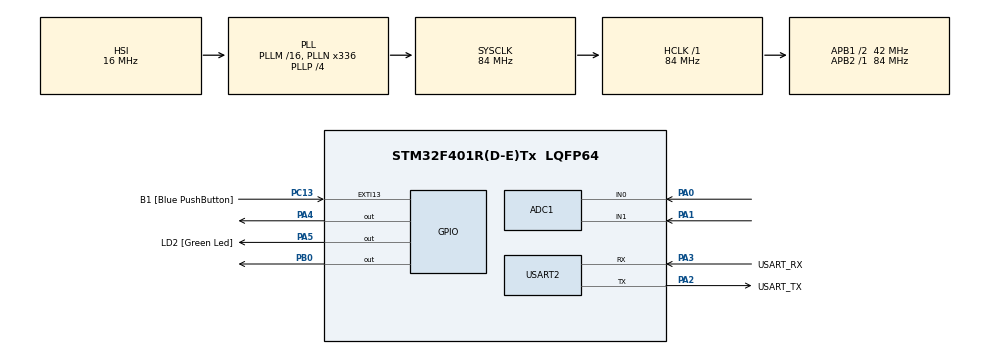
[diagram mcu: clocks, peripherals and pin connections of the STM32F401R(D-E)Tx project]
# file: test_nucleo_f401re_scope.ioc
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ADC1.Channel-0\#ChannelRegularConversion=ADC_CHANNEL_0
ADC1.Channel-1\#ChannelRegularConversion=ADC_CHANNEL_1
ADC1.DMAContinuousRequests=ENABLE
ADC1.DataAlign=ADC_DATAALIGN_RIGHT
ADC1.EnableAnalogWatchDog=true
ADC1.ExternalTrigConv=ADC_EXTERNALTRIGCONV_T2_TRGO
ADC1.HighThreshold=2048
ADC1.ITMode=ENABLE
ADC1.LowThreshold=1024
ADC1.NbrOfConversion=2
ADC1.NbrOfConversionFlag=1
ADC1.Rank-0\#ChannelRegularConversion=1
ADC1.Rank-1\#ChannelRegularConversion=2
ADC1.SamplingTime-0\#ChannelRegularConversion=ADC_SAMPLETIME_3CYCLES
ADC1.SamplingTime-1\#ChannelRegularConversion=ADC_SAMPLETIME_3CYCLES
ADC1.WatchdogMode=ADC_ANALOGWATCHDOG_SINGLE_REG
ADC1.master=1
Dma.ADC1.0.Direction=DMA_PERIPH_TO_MEMORY
Dma.ADC1.0.FIFOMode=DMA_FIFOMODE_DISABLE
Dma.ADC1.0.Instance=DMA2_Stream0
Dma.ADC1.0.MemDataAlignment=DMA_MDATAALIGN_HALFWORD
Dma.ADC1.0.MemInc=DMA_MINC_ENABLE
Dma.ADC1.0.Mode=DMA_CIRCULAR
Dma.ADC1.0.PeriphDataAlignment=DMA_PDATAALIGN_HALFWORD
Dma.ADC1.0.PeriphInc=DMA_PINC_DISABLE
Dma.ADC1.0.Priority=DMA_PRIORITY_LOW
Dma.Request0=ADC1
Mcu.Family=STM32F4
Mcu.Name=STM32F401R(D-E)Tx
Mcu.Package=LQFP64
NVIC.ADC_IRQn=true\:0\:0\:false\:false\:true\:true\:true\:true
NVIC.DMA2_Stream0_IRQn=true\:0\:0\:false\:false\:true\:false\:true\:true
NVIC.PriorityGroup=NVIC_PRIORITYGROUP_0
NVIC.TIM3_IRQn=true\:0\:0\:false\:false\:true\:true\:true\:true
PA0-WKUP.Signal=ADCx_IN0
PA1.Signal=ADCx_IN1
PA13.GPIO_Label=TMS
PA13.Mode=Trace_Asynchronous_SW
PA13.Signal=SYS_JTMS-SWDIO
PA14.GPIO_Label=TCK
PA14.Mode=Trace_Asynchronous_SW
PA14.Signal=SYS_JTCK-SWCLK
PA2.GPIO_Label=USART_TX
PA2.GPIO_Mode=GPIO_MODE_AF_PP
PA2.GPIO_PuPd=GPIO_NOPULL
PA2.GPIO_Speed=GPIO_SPEED_FREQ_LOW
PA2.Mode=Asynchronous
PA2.Signal=USART2_TX
PA3.GPIO_Label=USART_RX
PA3.GPIO_Mode=GPIO_MODE_AF_PP
PA3.GPIO_PuPd=GPIO_NOPULL
PA3.GPIO_Speed=GPIO_SPEED_FREQ_LOW
PA3.Mode=Asynchronous
PA3.Signal=USART2_RX
PA4.Signal=GPIO_Output
PA5.GPIO_Label=LD2 [Green Led]
PA5.GPIO_Mode=GPIO_MODE_OUTPUT_PP
PA5.GPIO_PuPd=GPIO_NOPULL
PA5.GPIO_Speed=GPIO_SPEED_FREQ_LOW
PA5.Signal=GPIO_Output
PB0.Signal=GPIO_Output
PB3.GPIO_Label=SWO
PB3.Mode=Trace_Asynchronous_SW
PB3.Signal=SYS_JTDO-SWO
PC13-ANTI_TAMP.GPIO_Label=B1 [Blue PushButton]
PC13-ANTI_TAMP.GPIO_ModeDefaultEXTI=GPIO_MODE_IT_FALLING
PC13-ANTI_TAMP.GPIO_PuPd=GPIO_NOPULL
PC13-ANTI_TAMP.Signal=GPXTI13
PC14-OSC32_IN.Mode=LSE-External-Oscillator
PC14-OSC32_IN.Signal=RCC_OSC32_IN
PC15-OSC32_OUT.Mode=LSE-External-Oscillator
PC15-OSC32_OUT.Signal=RCC_OSC32_OUT
PH0\ -\ OSC_IN.Mode=HSE-External-Clock-Source
PH0\ -\ OSC_IN.Signal=RCC_OSC_IN
PH1\ -\ OSC_OUT.Mode=HSE-External-Clock-Source
PH1\ -\ OSC_OUT.Signal=RCC_OSC_OUT
ProjectManager.HeapSize=0x200
ProjectManager.StackSize=0x400
ProjectManager.TargetToolchain=STM32CubeIDE
RCC.48MHZClocksFreq_Value=48000000
RCC.AHBFreq_Value=84000000
RCC.APB1CLKDivider=RCC_HCLK_DIV2
RCC.APB1Freq_Value=42000000
RCC.APB1TimFreq_Value=84000000
RCC.APB2Freq_Value=84000000
RCC.APB2TimFreq_Value=84000000
RCC.CortexFreq_Value=84000000
RCC.HCLKFreq_Value=84000000
RCC.HSE_VALUE=8000000
RCC.HSI_VALUE=16000000
RCC.PLLN=336
RCC.PLLP=RCC_PLLP_DIV4
RCC.PLLQ=7
RCC.SYSCLKFreq_VALUE=84000000
RCC.SYSCLKSource=RCC_SYSCLKSOURCE_PLLCLK
RCC.VCOOutputFreq_Value=336000000
SH.ADCx_IN0.0=ADC1_IN0,IN0
SH.ADCx_IN1.0=ADC1_IN1,IN1
TIM2.Period=84
TIM2.TIM_MasterOutputTrigger=TIM_TRGO_UPDATE
TIM3.Period=84*256
TIM3.TIM_MasterOutputTrigger=TIM_TRGO_RESET
USART2.VirtualMode=VM_ASYNC
VP_TIM2_VS_ClockSourceINT.Mode=Internal
VP_TIM3_VS_OPM.Mode=OPM_bit
board=NUCLEO-F401RE

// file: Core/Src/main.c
/* USER CODE BEGIN Header */
/**
  ******************************************************************************
  * @file           : main.c
  * @brief          : Main program body
  ******************************************************************************
  * @attention
  *
  * Copyright (c) 2023 STMicroelectronics.
  * All rights reserved.
  *
  * This software is licensed under terms that can be found in the LICENSE file
  * in the root directory of this software component.
  * If no LICENSE file comes with this software, it is provided AS-IS.
  *
  ******************************************************************************
  */
/* USER CODE END Header */
#include "main.h"
#include "adc.h"
#include "dma.h"
#include "tim.h"
#include "usart.h"
#include "gpio.h"

void SystemClock_Config(void);

/* USER CODE BEGIN 0 */
int _write(int file, char *ptr, int len)
{
	int i;
	for(i = 0; i < len; i++)
	{
		ITM_SendChar(*ptr++);
	}
    return len;
}

#define BUFFER_LEN (4096)
uint16_t buffer[BUFFER_LEN];
int state = 0;
int cndtr = 0;
int offset_h = 50;
int scale_h = 1000;
int trigger_v = 2048;
int channel = 0;
int slope = 1; // rising
void HAL_ADC_ConvCpltCallback(ADC_HandleTypeDef* hadc)
{
    if( state == 0 )
    {
    	LL_ADC_DisableIT_AWD1(hadc1.Instance);
    	if( slope == 1 )
    	{
        	hadc1.Instance->HTR = 0x0FFF;
        	hadc1.Instance->LTR = trigger_v;
    	}
    	else
    	{
        	hadc1.Instance->HTR = trigger_v;
        	hadc1.Instance->LTR = 0x0000;
    	}
    	__HAL_ADC_CLEAR_FLAG(&hadc1, ADC_FLAG_AWD);
        LL_ADC_EnableIT_AWD1(hadc1.Instance);
    	state = 1;
    }
}
void HAL_ADC_LevelOutOfWindowCallback(ADC_HandleTypeDef* hadc)
{
	if( state == 1 )
	{
		LL_ADC_DisableIT_AWD1(hadc1.Instance);
    	if( slope == 1 )
    	{
    		hadc1.Instance->HTR = trigger_v;
    		hadc1.Instance->LTR = 0x0000;
    	}
    	else
    	{
        	hadc1.Instance->HTR = 0x0FFF;
        	hadc1.Instance->LTR = trigger_v;
    	}
    	__HAL_ADC_CLEAR_FLAG(&hadc1, ADC_FLAG_AWD);
		LL_ADC_EnableIT_AWD1(hadc1.Instance);
		state = 2;
	}
	else if( state == 2 )
	{
		LL_ADC_DisableIT_AWD1(hadc1.Instance);

        __HAL_TIM_CLEAR_IT(&htim3, TIM_IT_CC1);
        __HAL_TIM_CLEAR_IT(&htim3, TIM_IT_CC2);
        __HAL_TIM_CLEAR_IT(&htim3, TIM_IT_UPDATE);
        __HAL_TIM_CLEAR_FLAG(&htim3, TIM_FLAG_CC1);
        __HAL_TIM_CLEAR_FLAG(&htim3, TIM_FLAG_CC2);
        __HAL_TIM_CLEAR_FLAG(&htim3, TIM_FLAG_UPDATE);

		HAL_TIM_OnePulse_Start_IT(&htim3, TIM_CHANNEL_1);
		HAL_TIM_Base_Start(&htim3);
		state = 3;
	}
}

void HAL_TIM_OC_DelayElapsedCallback(TIM_HandleTypeDef* htim)
{
	if( state == 3 )
	{
		extern DMA_HandleTypeDef hdma_adc1;
		cndtr = hdma_adc1.Instance->NDTR;

		// Stop the one-pulse mode for TIM stop signal
		HAL_TIM_Base_Stop(&htim3);
		HAL_TIM_OnePulse_Stop_IT(&htim3, TIM_CHANNEL_1);

		// Stop the TIM used for the horizontal synchronization stop signal
		HAL_TIM_Base_Stop(&htim2);
		state= 4;
	}
}
/* USER CODE END 0 */

int main(void)
{

  /* MCU Configuration--------------------------------------------------------*/

  /* Reset of all peripherals, Initializes the Flash interface and the Systick. */
  HAL_Init();

  /* Configure the system clock */
  SystemClock_Config();

  /* Initialize all configured peripherals */
  MX_GPIO_Init();
  MX_DMA_Init();
  MX_USART2_UART_Init();
  MX_ADC1_Init();
  MX_TIM2_Init();
  MX_TIM3_Init();
  /* USER CODE BEGIN 2 */
  unsigned int trigger_h = 0;
  unsigned int n = 0;

  htim2.Init.Prescaler = (SystemCoreClock / (scale_h * 1000))/2 - 1;
  htim2.Init.Period = 2 - 1;
  HAL_TIM_Base_Init(&htim2);

  htim3.Init.Prescaler = (SystemCoreClock / (scale_h * 1000))/2 - 1;
  htim3.Init.Period = 2*(BUFFER_LEN/2 + offset_h) - 1;
  HAL_TIM_Base_Init(&htim3);

  channel = ADC_CHANNEL_0;
  hadc1.Instance->CR1 &= ~ADC_CR1_AWDCH;
  hadc1.Instance->CR1 |= channel;

  __HAL_DBGMCU_FREEZE_TIM2();
  __HAL_DBGMCU_FREEZE_TIM3();

  HAL_GPIO_WritePin(GPIOA, GPIO_PIN_4, GPIO_PIN_RESET);
  HAL_GPIO_WritePin(GPIOB, GPIO_PIN_0, GPIO_PIN_RESET);

  LL_ADC_DisableIT_AWD1(hadc1.Instance);
  __HAL_ADC_CLEAR_FLAG(&hadc1, ADC_FLAG_AWD);
  HAL_ADC_Start_DMA(&hadc1, (uint32_t*)buffer, BUFFER_LEN);
  HAL_TIM_Base_Start(&htim2);

#include <stdlib.h>
  HAL_Delay(10);
  srand( buffer[0] );
  int ms = rand()&0xFF;
  HAL_Delay( ms );
  HAL_GPIO_WritePin(GPIOA, GPIO_PIN_4, GPIO_PIN_SET);
  HAL_Delay(1);
  HAL_GPIO_WritePin(GPIOB, GPIO_PIN_0, GPIO_PIN_SET);
  while( state != 4 )
  {
	  HAL_Delay(1);
  }

  trigger_h = (BUFFER_LEN-cndtr)-BUFFER_LEN/2-BUFFER_LEN/2;
  trigger_h %= BUFFER_LEN;
  printf( "%d, %d%\n", cndtr, trigger_h );
  printf( "\n" );
  for( int i = 0 ; i < BUFFER_LEN ; i++ )
  {
	  n = trigger_h+i;
	  n %= BUFFER_LEN;
	  if( (i&0x01) == 0 )
	  {
		  printf( "%d, %d, %d\n", i, buffer[n+0], buffer[n+1] );
		  HAL_Delay(1);
	  }
  }
  /* USER CODE END 2 */

  /* Infinite loop */
  while (1)
  {

  }
}

void SystemClock_Config(void)
{
  RCC_OscInitTypeDef RCC_OscInitStruct = {0};
  RCC_ClkInitTypeDef RCC_ClkInitStruct = {0};

  /** Configure the main internal regulator output voltage
  */
  __HAL_RCC_PWR_CLK_ENABLE();
  __HAL_PWR_VOLTAGESCALING_CONFIG(PWR_REGULATOR_VOLTAGE_SCALE2);

  /** Initializes the RCC Oscillators according to the specified parameters
  * in the RCC_OscInitTypeDef structure.
  */
  RCC_OscInitStruct.OscillatorType = RCC_OSCILLATORTYPE_HSI;
  RCC_OscInitStruct.HSIState = RCC_HSI_ON;
  RCC_OscInitStruct.HSICalibrationValue = RCC_HSICALIBRATION_DEFAULT;
  RCC_OscInitStruct.PLL.PLLState = RCC_PLL_ON;
  RCC_OscInitStruct.PLL.PLLSource = RCC_PLLSOURCE_HSI;
  RCC_OscInitStruct.PLL.PLLM = 16;
  RCC_OscInitStruct.PLL.PLLN = 336;
  RCC_OscInitStruct.PLL.PLLP = RCC_PLLP_DIV4;
  RCC_OscInitStruct.PLL.PLLQ = 7;
  if (HAL_RCC_OscConfig(&RCC_OscInitStruct) != HAL_OK)
  {
    Error_Handler();
  }

  /** Initializes the CPU, AHB and APB buses clocks
  */
  RCC_ClkInitStruct.ClockType = RCC_CLOCKTYPE_HCLK|RCC_CLOCKTYPE_SYSCLK
                              |RCC_CLOCKTYPE_PCLK1|RCC_CLOCKTYPE_PCLK2;
  RCC_ClkInitStruct.SYSCLKSource = RCC_SYSCLKSOURCE_PLLCLK;
  RCC_ClkInitStruct.AHBCLKDivider = RCC_SYSCLK_DIV1;
  RCC_ClkInitStruct.APB1CLKDivider = RCC_HCLK_DIV2;
  RCC_ClkInitStruct.APB2CLKDivider = RCC_HCLK_DIV1;

  if (HAL_RCC_ClockConfig(&RCC_ClkInitStruct, FLASH_LATENCY_2) != HAL_OK)
  {
    Error_Handler();
  }
}

void Error_Handler(void)
{
  __disable_irq();
  while (1)
  {
  }
}
